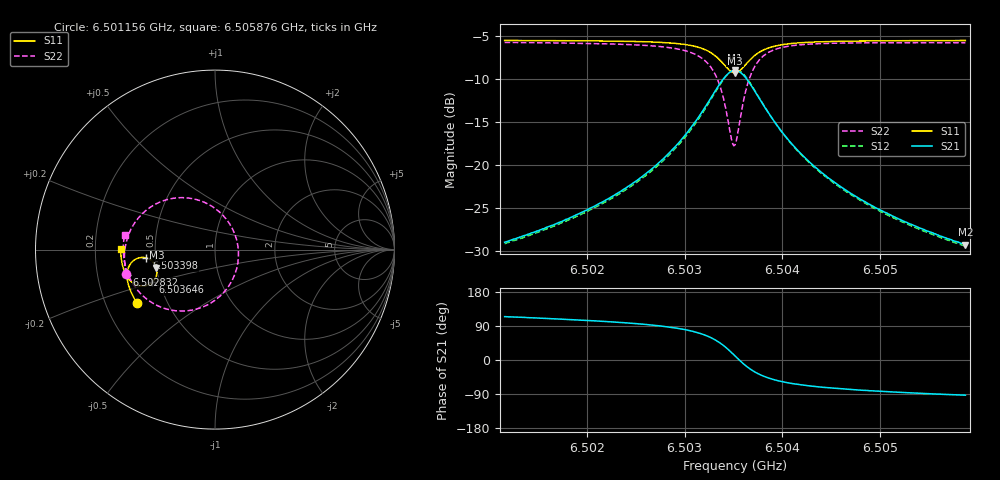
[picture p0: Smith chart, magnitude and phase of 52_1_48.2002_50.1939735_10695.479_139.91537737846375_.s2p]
#  HZ  S  RI  R  50.00
! Rohde & Schwarz Vector Network Analyzer
! Rohde-Schwarz,ZNB20-2Port,1311601062101988,3.16
! Created: UTC 3/20/2024, 11:38:18 AM
! freq[Hz]  re:S11  im:S11  re:S21  im:S21  re:S12  im:S12  re:S22  im:S22
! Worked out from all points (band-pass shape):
!   401 points, 6.501156 GHz to 6.505876 GHz, reference 50 ohm
!   highest |S21| = -9.05 dB at 6.503516 GHz (marker M1); lowest = -29.2 dB at 6.505876 GHz (marker M2)
!   |S21| within 3 dB of the highest: 6.50328 GHz to 6.503752 GHz (472.5 kHz wide, 0.00726 % of centre)
!   lowest |S11| = -9.3 dB at 6.503516 GHz (marker M3), VSWR 2.04, Z = 25 - j5.68 ohm
!   |S11| at or under -10 dB: nowhere
!   |S22| runs from -17.8 to -5.8 dB; largest |S21 - S12| = 0.012
!   S11 on the Smith chart (normalised r, x): 6.501156 GHz: 0.34, -0.28; 6.502832 GHz: 0.33, -0.13; 6.503398 GHz: 0.45, -0.05; 6.503646 GHz: 0.46, -0.20; 6.505876 GHz: 0.31, +0.00
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6.5011558e9  -0.4355 -0.2958  -0.0148 0.0325  -0.013 0.0325  -0.495 -0.1342
6.5019465e9  -0.4681 -0.2355  -0.0138 0.0513  -0.0113 0.0508  -0.5046 -0.0464
6.5023596e9  -0.482 -0.1976  -0.0108 0.0705  -0.00764 0.0692  -0.4997 0.0152
6.5027372e9  -0.4901 -0.154  -0.00037 0.103  0.00328 0.1005  -0.4765 0.0959
6.5028317e9  -0.4904 -0.1407  0.00551 0.1157  0.00928 0.1125  -0.4634 0.1228
6.5030323e9  -0.4847 -0.1059  0.0308 0.1525  0.0343 0.1476  -0.4112 0.1937
6.5031739e9  -0.4681 -0.0753  0.0725 0.1876  0.0751 0.1813  -0.3301 0.2539
6.5033037e9  -0.4305 -0.0483  0.153 0.2137  0.1534 0.2072  -0.1837 0.2895
6.5033981e9  -0.382 -0.0462  0.2481 0.1955  0.248 0.1908  -0.0189 0.2426
6.5034807e9  -0.3376 -0.0774  0.3289 0.117  0.3313 0.1128  0.1099 0.0872
6.5035161e9  -0.3264 -0.1006  0.3465 0.0661  0.3504 0.0605  0.1304 -0.00865
6.5035397e9  -0.3234 -0.1176  0.3497 0.0301  0.3541 0.0231  0.1272 -0.0751
6.5035751e9  -0.3258 -0.1426  0.3416 -0.022  0.3453 -0.0313  0.0975 -0.1674
6.5036459e9  -0.349 -0.1813  0.2925 -0.1008  0.2924 -0.1129  -0.0187 -0.2948
6.5037404e9  -0.3914 -0.2018  0.2109 -0.145  0.2057 -0.1557  -0.1851 -0.3422
6.5038112e9  -0.4183 -0.2019  0.1614 -0.1503  0.1545 -0.1586  -0.2774 -0.3288
6.5038938e9  -0.4422 -0.1946  0.1194 -0.144  0.112 -0.1496  -0.3509 -0.2957
6.5040708e9  -0.4736 -0.1718  0.0674 -0.1204  0.0608 -0.1228  -0.4352 -0.2216
6.5043068e9  -0.4951 -0.1423  0.0358 -0.094  0.0308 -0.0946  -0.4806 -0.1463
6.5046609e9  -0.5108 -0.1039  0.0159 -0.0691  0.0123 -0.0686  -0.504 -0.0694
6.5050975e9  -0.5205 -0.0624  0.00551 -0.0514  0.0031 -0.0505  -0.5107 -0.00354
6.5058764e9  -0.5261 0.00459  -0.00171 -0.0345  -0.00327 -0.0337  -0.504 0.0825
